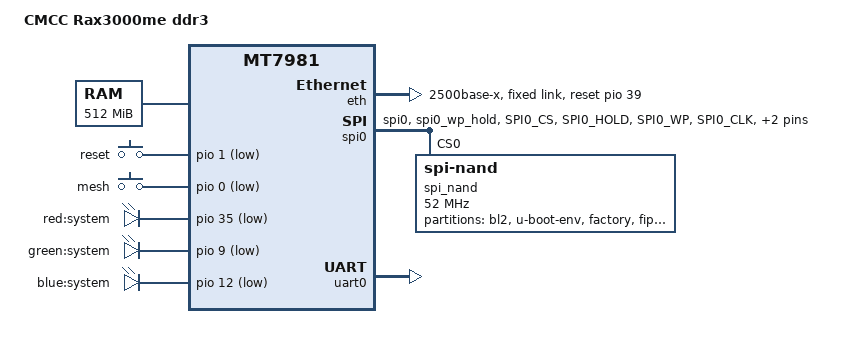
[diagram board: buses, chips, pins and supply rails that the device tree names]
// SPDX-License-Identifier: GPL-2.0-or-later

/dts-v1/;
#include "mt7981.dtsi"
#include <dt-bindings/gpio/gpio.h>
#include <dt-bindings/input/linux-event-codes.h>

/ {
	#address-cells = <1>;
	#size-cells = <1>;
	model = "CMCC Rax3000me ddr3";
	compatible = "mediatek,mt7981", "mediatek,mt7981-rfb";

	chosen {
		stdout-path = &uart0;
		tick-timer = &timer0;
	};

	memory@40000000 {
		device_type = "memory";
		reg = <0x40000000 0x20000000>;
	};

	config {
		bootcmd = "mtkboardboot";
		blink_led = "blue:system";
		system_led = "green:system";
	};

	gpio-keys {
		compatible = "gpio-keys";

		reset-button {
			label = "reset";
			linux,code = <KEY_RESTART>;
			gpios = <&pio 1 GPIO_ACTIVE_LOW>;
		};

		mesh-button {
			label = "mesh";
			linux,code = <BTN_9>;
			gpios = <&pio 0 GPIO_ACTIVE_LOW>;
		};
	};

	leds {
		compatible = "gpio-leds";

		led-0 {
			label = "red:system";
			gpios = <&pio 35 GPIO_ACTIVE_LOW>;
		};

		led-1 {
			label = "green:system";
			gpios = <&pio 9 GPIO_ACTIVE_LOW>;
		};

		led-2 {
			label = "blue:system";
			gpios = <&pio 12 GPIO_ACTIVE_LOW>;
		};
	};
};

&eth {
	status = "okay";
	mediatek,gmac-id = <0>;
	phy-mode = "2500base-x";
	mediatek,switch = "mt7531";
	reset-gpios = <&pio 39 GPIO_ACTIVE_HIGH>;

	fixed-link {
		speed = <2500>;
		full-duplex;
	};
};

&pio {
	spi_flash_pins: spi0-pins-func-1 {
		mux {
			function = "flash";
			groups = "spi0", "spi0_wp_hold";
		};

		conf-pu {
			pins = "SPI0_CS", "SPI0_HOLD", "SPI0_WP";
			drive-strength = <MTK_DRIVE_8mA>;
			bias-pull-up = <MTK_PUPD_SET_R1R0_00>;
		};

		conf-pd {
			pins = "SPI0_CLK", "SPI0_MOSI", "SPI0_MISO";
			drive-strength = <MTK_DRIVE_8mA>;
			bias-pull-down = <MTK_PUPD_SET_R1R0_00>;
		};
	};
};

&spi0 {
	#address-cells = <1>;
	#size-cells = <0>;
	pinctrl-names = "default";
	pinctrl-0 = <&spi_flash_pins>;
	status = "okay";
	must_tx;
	enhance_timing;
	dma_ext;
	ipm_design;
	support_quad;
	tick_dly = <2>;
	sample_sel = <0>;

	spi_nand@0 {
		compatible = "spi-nand";
		reg = <0>;
		spi-max-frequency = <52000000>;

		partitions {
			compatible = "fixed-partitions";
			#address-cells = <1>;
			#size-cells = <1>;

			partition@0 {
				label = "bl2";
				reg = <0x0 0x100000>;
			};

			partition@100000 {
				label = "u-boot-env";
				reg = <0x100000 0x80000>;
			};

			partition@180000 {
				label = "factory";
				reg = <0x180000 0x200000>;
			};

			partition@380000 {
				label = "fip";
				reg = <0x380000 0x200000>;
			};

			partition@580000 {
				label = "ubi";
				reg = <0x580000 0x7200000>;
				compatible = "linux,ubi";
			};
		};
	};
};

&uart0 {
	mediatek,force-highspeed;
	status = "okay";
};

&watchdog {
	status = "disabled";
};
